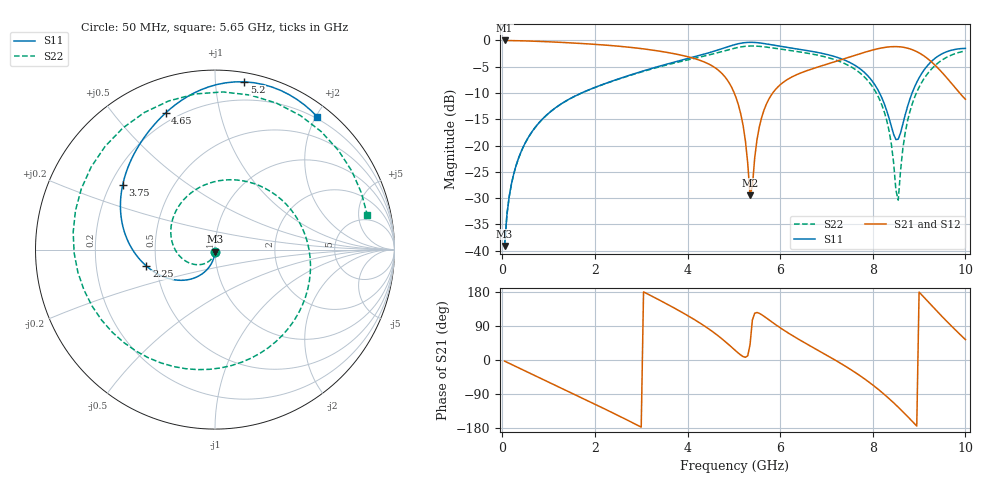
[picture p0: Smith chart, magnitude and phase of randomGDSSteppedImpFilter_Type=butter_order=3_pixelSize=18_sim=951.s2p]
! freq	dB(S11)	phase(S11)	dB(S12)	phase(S12)
!  dB(S21)	phase(S21)	dB(S22)	phase(S22)
!S-par simulation data
#  GHz  S  DB  R 50
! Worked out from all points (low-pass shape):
!   200 points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, 50 MHz to 10 GHz, reference 50 ohm
!   highest |S21| = 0.00 dB at 50 MHz (marker M1); lowest = -29.5 dB at 5.35 GHz (marker M2)
!   |S21| within 3 dB of the highest: start of sweep to 3.962 GHz; 7.555 GHz to 9.114 GHz (1.559 GHz wide, 18.7 % of centre)
!   lowest |S11| = -39.1 dB at 50 MHz (marker M3), VSWR 1.02, Z = 50 - j1.11 ohm
!   |S11| at or under -10 dB: start of sweep to 1.711 GHz; 8.146 GHz to 8.849 GHz (703.2 MHz wide, 8.28 % of centre)
!   |S22| runs from -39.2 to -1.1 dB; largest |S21 - S12| = 0
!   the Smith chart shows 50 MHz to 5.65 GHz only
!   S11 on the Smith chart (normalised r, x): 50 MHz: 1.00, -0.02; 2.25 GHz: 0.44, -0.10; 3.75 GHz: 0.25, +0.30; 4.65 GHz: 0.16, +0.69; 5.2 GHz: 0.06, +1.19; 5.65 GHz: 0.17, +2.02
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0.05  -39.12 -91.3  -0.00 -3.0  -0.00 -3.0  -39.16 -93.5
0.2  -27.20 -97.6  -0.03 -11.8  -0.03 -11.8  -27.23 -105.9
0.5  -19.43 -109.4  -0.09 -29.3  -0.09 -29.3  -19.46 -130.2
1.75  -9.85 -151.7  -0.60 -101.9  -0.60 -101.9  -9.87 126.4
2.25  -8.11 -166.5  -0.90 -131.4  -0.90 -131.4  -8.15 82.2
3.4  -4.88 157.4  -2.05 157.7  -2.05 157.7  -5.01 -23.0
3.75  -4.04 145.0  -2.60 134.7  -2.60 134.7  -4.23 -56.5
4.25  -2.88 126.3  -3.73 98.9  -3.73 98.9  -3.21 -109.6
4.65  -1.84 109.9  -5.56 64.9  -5.56 64.9  -2.34 -162.8
5.05  -0.73 89.3  -10.94 23.2  -10.94 23.2  -1.41 127.1
5.2  -0.46 80.1  -16.19 9.1  -16.19 9.1  -1.17 97.2
5.35  -0.36 70.6  -29.46 40.6  -29.46 40.6  -1.06 67.2
5.65  -0.59 52.5  -13.29 115.5  -13.29 115.5  -1.21 12.9
6.15  -1.33 27.0  -7.47 73.2  -7.47 73.2  -1.82 -54.1
6.7  -2.11 0.8  -5.39 33.6  -5.39 33.6  -2.61 -107.6
7.65  -4.93 -47.8  -2.74 -35.3  -2.74 -35.3  -5.70 166.1
8.35  -14.75 -70.7  -1.23 -101.7  -1.23 -101.7  -17.13 74.5
8.55  -18.80 -22.1  -1.19 -124.5  -1.19 -124.5  -30.40 -57.8
8.75  -12.60 10.0  -1.47 -148.8  -1.47 -148.8  -15.36 -147.9
9.15  -5.13 -7.6  -3.23 159.6  -3.23 159.6  -6.72 136.6
9.55  -2.32 -37.5  -6.62 108.0  -6.62 108.0  -3.43 66.9
10  -1.52 -71.1  -11.19 53.9  -11.19 53.9  -1.99 2.1
